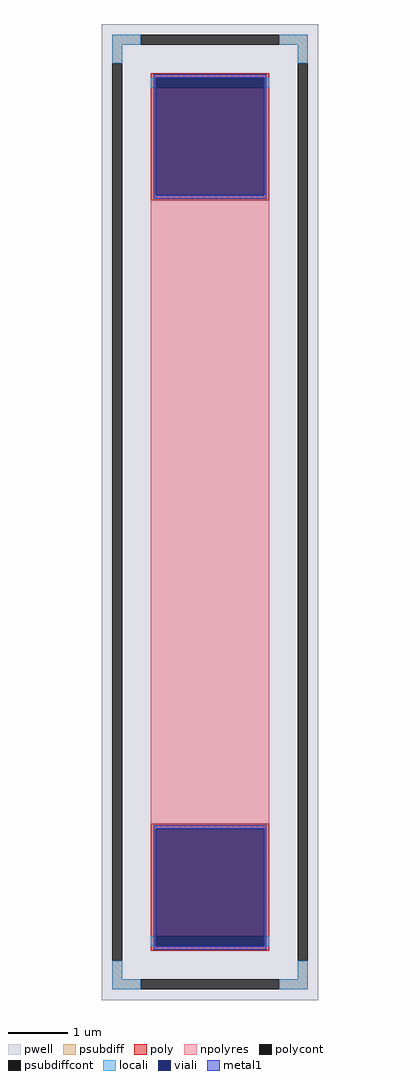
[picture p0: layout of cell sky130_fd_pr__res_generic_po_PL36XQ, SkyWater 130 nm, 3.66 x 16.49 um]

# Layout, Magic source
magic
tech sky130A
magscale 1 2
<< pwell >>
rect -366 -1649 366 1649
<< psubdiff >>
rect -330 1579 -234 1613
rect 234 1579 330 1613
rect -330 1517 -296 1579
rect 296 1517 330 1579
rect -330 -1579 -296 -1517
rect 296 -1579 330 -1517
rect -330 -1613 -234 -1579
rect 234 -1613 330 -1579
<< psubdiffcont >>
rect -234 1579 234 1613
rect -330 -1517 -296 1517
rect 296 -1517 330 1517
rect -234 -1613 234 -1579
<< poly >>
rect -200 1467 200 1483
rect -200 1433 -184 1467
rect 184 1433 200 1467
rect -200 1053 200 1433
rect -200 -1433 200 -1053
rect -200 -1467 -184 -1433
rect 184 -1467 200 -1433
rect -200 -1483 200 -1467
<< polycont >>
rect -184 1433 184 1467
rect -184 -1467 184 -1433
<< npolyres >>
rect -200 -1053 200 1053
<< locali >>
rect -330 1579 -234 1613
rect 234 1579 330 1613
rect -330 1517 -296 1579
rect 296 1517 330 1579
rect -200 1433 -184 1467
rect 184 1433 200 1467
rect -200 -1467 -184 -1433
rect 184 -1467 200 -1433
rect -330 -1579 -296 -1517
rect 296 -1579 330 -1517
rect -330 -1613 -234 -1579
rect 234 -1613 330 -1579
<< viali >>
rect -184 1433 184 1467
rect -184 1070 184 1433
rect -184 -1433 184 -1070
rect -184 -1467 184 -1433
<< metal1 >>
rect -190 1467 190 1479
rect -190 1070 -184 1467
rect 184 1070 190 1467
rect -190 1058 190 1070
rect -190 -1070 190 -1058
rect -190 -1467 -184 -1070
rect 184 -1467 190 -1070
rect -190 -1479 190 -1467
<< properties >>
string FIXED_BBOX -313 -1596 313 1596
string gencell sky130_fd_pr__res_generic_po
string library sky130
string parameters w 2 l 10.53 m 1 nx 1 wmin 0.330 lmin 1.650 rho 48.2 val 253.773 dummy 0 dw 0.0 term 0.0 sterm 0.0 caplen 0.4 snake 0 guard 1 glc 1 grc 1 gtc 1 gbc 1 roverlap 0 endcov 100 full_metal 1 hv_guard 0 n_guard 0 vias 1 viagb 0 viagt 0 viagl 0 viagr 0
<< end >>
